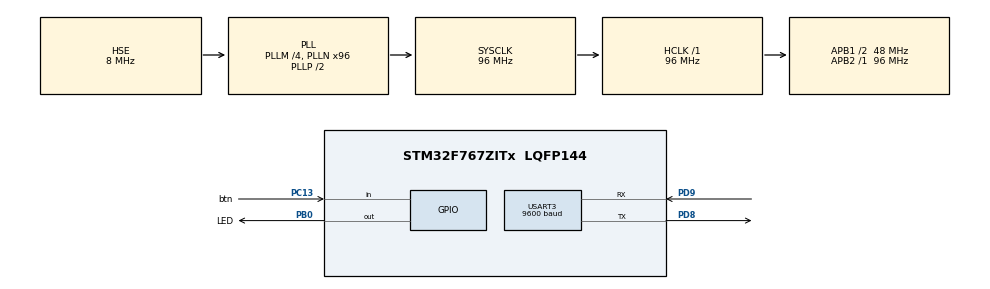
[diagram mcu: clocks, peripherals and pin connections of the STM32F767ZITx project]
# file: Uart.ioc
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Mcu.Family=STM32F7
Mcu.Name=STM32F767ZITx
Mcu.Package=LQFP144
NVIC.PriorityGroup=NVIC_PRIORITYGROUP_4
NVIC.USART3_IRQn=true\:0\:0\:false\:false\:true\:true\:true\:true
PB0.GPIO_Label=LED
PB0.Signal=GPIO_Output
PC13.GPIO_Label=btn
PC13.GPIO_PuPd=GPIO_PULLDOWN
PC13.Signal=GPIO_Input
PD8.Mode=Asynchronous
PD8.Signal=USART3_TX
PD9.Mode=Asynchronous
PD9.Signal=USART3_RX
PH0/OSC_IN.Mode=HSE-External-Oscillator
PH0/OSC_IN.Signal=RCC_OSC_IN
PH1/OSC_OUT.Mode=HSE-External-Oscillator
PH1/OSC_OUT.Signal=RCC_OSC_OUT
ProjectManager.HeapSize=0x200
ProjectManager.StackSize=0x400
ProjectManager.TargetToolchain=STM32CubeIDE
RCC.48MHZClocksFreq_Value=24000000
RCC.AHBFreq_Value=96000000
RCC.APB1CLKDivider=RCC_HCLK_DIV2
RCC.APB1Freq_Value=48000000
RCC.APB1TimFreq_Value=96000000
RCC.APB2Freq_Value=96000000
RCC.APB2TimFreq_Value=96000000
RCC.CortexFreq_Value=96000000
RCC.HCLKFreq_Value=96000000
RCC.HSE_VALUE=8000000
RCC.HSI_VALUE=16000000
RCC.LSE_VALUE=32768
RCC.PLLM=4
RCC.PLLMUL=RCC_PLL_MUL9
RCC.PLLN=96
RCC.PLLQ=4
RCC.PLLSourceVirtual=RCC_PLLSOURCE_HSE
RCC.PRESCALERUSB=RCC_USBCLKSOURCE_PLL_DIV1_5
RCC.SYSCLKFreq_VALUE=96000000
RCC.SYSCLKSource=RCC_SYSCLKSOURCE_PLLCLK
RCC.SYSCLKSourceVirtual=RCC_SYSCLKSOURCE_PLLCLK
RCC.USBFreq_Value=48000000
RCC.VCOOutputFreq_Value=192000000
TIM2.Period=5000-1
TIM2.Prescaler=32000-1
USART3.BaudRate=9600
USART3.VirtualMode-Asynchronous=VM_ASYNC
VP_TIM2_VS_ClockSourceINT.Mode=Internal
board=NUCLEO-F767ZI

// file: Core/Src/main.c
/* USER CODE BEGIN Header */
/**
 ******************************************************************************
 * @file           : main.c
 * @brief          : Main program body
 ******************************************************************************
 * @attention
 *
 * Copyright (c) 2022 STMicroelectronics.
 * All rights reserved.
 *
 * This software is licensed under terms that can be found in the LICENSE file
 * in the root directory of this software component.
 * If no LICENSE file comes with this software, it is provided AS-IS.
 *
 *
 ******************************************************************************
 ******************************************************************************
 *Autores: Jhan Carlos Reyes
 *Autores: Jose Luis De La Hoz
 *Autores: Esneider Silva
 *
 * El siguiente código presenta un desarrollo en la tarjeta de desarrollo
 * Nucleo - F767zi con un ARM-Cortex M7
 *
 * Consiste en una interfaz de terminar serial por la cual el usuario puede
 * interactuar de manera amigable para la generación de número pseudoaleatorios
 * mediante el uso de desplazamientos y compuertas XOR con determinadas
 * posiciones o taps
 *
 * Dentro de las características del programa está la interfaz antes mencionada
 * que transmite a 9600 bps 8N1. Además de identificar si se optienen periodo
 * máximo durante la generación. Si utiliza una única salida que corresponde al
 * led verde en la tarjeta
 ******************************************************************************
 ******************************************************************************
 */
/* USER CODE END Header */
#include "main.h"

/* USER CODE BEGIN Includes */

//Adición de librerías para
// transmisión UART stdio y string
#include <stdio.h>
#include <stdlib.h>
#include <string.h>
// cálculos matemáticos (potencia)
#include <math.h>
// incluir las funciones de printf y scanf
#include "retarget.h"
#include "funciones.h"

/* USER CODE END Includes */

TIM_HandleTypeDef htim2;

UART_HandleTypeDef huart3;

void SystemClock_Config(void);
static void MX_GPIO_Init(void);
static void MX_USART3_UART_Init(void);
static void MX_TIM2_Init(void);

int main(void)
{

  /* MCU Configuration--------------------------------------------------------*/

  /* Reset of all peripherals, Initializes the Flash interface and the Systick. */
  HAL_Init();

  /* Configure the system clock */
  SystemClock_Config();

  /* Initialize all configured peripherals */
  MX_GPIO_Init();
  MX_USART3_UART_Init();
  MX_TIM2_Init();
  /* USER CODE BEGIN 2 */
	HAL_GPIO_WritePin(LED_GPIO_Port, LED_Pin, GPIO_PIN_RESET); //Apagar el LED

	RetargetInit(&huart3); // declarar Uart3 (conectado con el stlink)

  /* USER CODE END 2 */

  /* Infinite loop */
  /* USER CODE BEGIN WHILE */

	while (1) {
		char buf_lfsr[10];
			uint8_t receive[32] = { 0 }; // Arreglo para recibir
			uint8_t seed[32] = { 0 };	//Arreglo semilla
			uint8_t seed_init[32] = { 0 }; //Arreglo semilla inicial
			uint8_t pol[32] = { 0 }; // Almacenar polinomio
			uint8_t aux[32] = { 0 }; // Auxiliar para invertir
			uint8_t xor[32] = { 0 }; // Almacena las xor
			uint8_t buffer_lfsr[16]={0};	//Transmitir
			uint8_t band = 1;		//bandera de ciclo max

			//Uso del timer 2 para LED_Blinking
			HAL_TIM_Base_Start(&htim2);
			__HAL_TIM_CLEAR_FLAG(&htim2, TIM_FLAG_UPDATE);
			int16_t timerLimit = 250;

			//Mensaje de saludo
			Saludo();

			//Etiqueta para reiniciar
			init:
			printf("\n\rNumero de bits termino de realimentacion\n\r");
			scanf("%s", buf_lfsr);
			int numbits = atoi(buf_lfsr);
			printf("\n\rNumero de bits - Decimals: %d\n\r", numbits);

			printf("\n\rIngrese el polinomio de %d bits en binario\n\r", numbits);
			if (!HAL_UART_Receive(&huart3, (uint8_t*) receive, numbits,
					HAL_MAX_DELAY)) {

				for (int i = 0; (i < numbits); i++) {
					pol[i] = (receive[i] - 48);
				}
			}

			///////////

		printf("\n\rIngrese el numero de la semilla de %d bits en binario\n\r",
				numbits);
		if (!HAL_UART_Receive(&huart3, (uint8_t*) receive, numbits, HAL_MAX_DELAY)) {

			//Recibe una semilla del tamaño de bits anteriormente especificado en binario
			for (int i = 0; (i < numbits); i++) {
				seed[i] = (receive[i] - 48);
				seed_init[i] = seed[i];
			}
			band = 1;
			//Convertir de arreglo a byte
			uint64_t usr = 0;
			for (int i = 0; (i < numbits); i++) {
				usr = usr + pow(2, ((numbits - 1) - i)) * seed_init[i];
			}

			uint64_t taps = 0;
			for (int i = 0; (i < numbits); i++) {
				taps = taps + pow(2, (numbits-1)-i) * pol[(numbits-1)-i];
			}

			printf("\n\r\n\r***************************************************************");
			printf("\n\r\t*\t RESUMEN INICIAL DE LA SECUENCIA \t*\n\r");
			printf("***************************************************************");
			printf("\n\rNumero de bits termino de realimentacion: %d \n\r",numbits);
			printf("Funcion de realimentacion: BIN ");

			printf("\n\rNumero de bits termino de realimentacion: %d \n\r",numbits);
			printf("Funcion de realimentacion; ");
			itoa(taps, (char*) buffer_lfsr, 2);
			printf("%s", buffer_lfsr);
			printf(" - ");
			itoa(taps, (char*) buffer_lfsr, 16);
			printf("%s", buffer_lfsr);

			printf("\n\rValor inicial - Semilla : ");
			itoa(usr, (char*) buffer_lfsr, 2);
			printf("%s", buffer_lfsr);
			printf(" - ");
			itoa(usr, (char*) buffer_lfsr, 16);
			printf("%s", buffer_lfsr);

			uint64_t a = pow(2,numbits)-1;
			printf("\n\rTotal de numeros esperados en la secuencia: %llu ", a);
			printf("\r\n");

		}

		printf("\n\r");
		//////////////////////////////////////////////////////
		//Invertir el polinomio de acuerdo con los parámetros establecidos
			for (int w = 0; w < numbits; w++) {
				aux[w] = pol[numbits - 1 - w];
			}

			for (int w = 0; w < numbits; w++) {
				pol[w] = aux[w];
			}

		uint64_t k = 0;
		while (k < pow(2, numbits)) {

			//Revisa si la bandera de interrupción del TIM esta en 1
			if (__HAL_TIM_GET_FLAG(&htim2, TIM_FLAG_UPDATE) != RESET) {
				__HAL_TIM_CLEAR_FLAG(&htim2, TIM_FLAG_UPDATE); //Borra la bandera de interrupcion del timer.
				HAL_GPIO_TogglePin(LED_GPIO_Port, LED_Pin);
				timerLimit = 250;
			} else if (__HAL_TIM_GET_COUNTER(&htim2) >= timerLimit) {
				timerLimit += 250;
			}

			for (int i = 0; (i < numbits); i++) {
				if (pol[i] == 1) {
					xor[i] = seed[i];
				} else {
					xor[i] = 0;
				}
			}
			////////////////////////////////////////////////////////

			/////////////////////////////////////////////////////////////////////////////////
			//Determinar cuantos 1's tiene
			uint64_t res = 0;
			for (int i = 0; (i < numbits); i++) {
				res = res + xor[i];
			}
			///////////////////////////////////////////////////////////////////////////////////

			// Función utilizada en DEBUGG
			// HAL_UART_Transmit(&huart3, &res, sizeof(res), HAL_MAX_DELAY);//envia el valor de la suma para determinar valor XOR

			////////DETERMINAMOS SI ES PAR O IMPAR////////////////////////////////

			if (res % 2 == 0) {
				res = 0;
			} else {
				res = 1;
			}
			///////////////////////////////////////////////
			// HAL_UART_Transmit(&huart3, &res, sizeof(res), HAL_MAX_DELAY);

			///mover y poner el valor xor en la cabeza
			for (int i = numbits - 1; i > 0; i--) {
				seed[i] = seed[i - 1];
			}

			seed[0] = res;

			uint64_t usr = 0;
			for (int i = 0; (i < numbits); i++) {
				usr = usr + pow(2, ((numbits - 1) - i)) * seed[i];
			}
			// Línea equivalente al anterior ciclo pero con tamaño de 4 bits
			//int usr = 16 * seed[0] + 8 * seed[1] + 4 * seed[2] + 2 * seed[3] + seed[4];

			itoa(usr, (char*) buffer_lfsr, 16);
			printf("\n\r%s", buffer_lfsr);

			if(HAL_GPIO_ReadPin (GPIOC, btn_Pin)){
				printf("\n\r\n\r***************************************************************");
				printf("\n\r\t*\t DETENER LA SECUENCIA POR EL USUARIO\t*\n\r");
				printf("***************************************************************");
				HAL_GPIO_WritePin(LED_GPIO_Port, LED_Pin, GPIO_PIN_RESET);
				goto last;
			}

			if (band == 1) {
				band = 2;
			} else {
				band = 0;
				for (int i = 0; i < numbits; i++) {
					if (seed[i] != seed_init[i]) {
						band = 2;
					}
				}
			}

			if (band == 0) {
				if (k == pow(2, numbits) - 2) {
					printf("\n\rMAXIMO\n\r");
				} else {
					printf("\n\rNO MAX\n\r");
				}
				break;
			}
			if (band == 2 && k== pow(2, numbits) - 1) {
				printf("\n\rNO MAX\n\r");
			}
			k++;
		}
		last:
		printf("\n\r\n\r***************************************************************");
		printf("\n\r\t*\t RESUMEN FINAL DE LA SECUENCIA \t*\n\r");
		printf("***************************************************************");
		printf("\n\rNumero de bits termino de realimentacion: %d \n\r",numbits);
		printf("Funcion de realimentacion: BIN ");

		uint64_t usr = 0;
		for (int i = 0; (i < numbits); i++) {
			usr = usr + pow(2, ((numbits - 1) - i)) * seed_init[i];
		}

		uint64_t taps = 0;
		for (int i = 0; (i < numbits); i++) {
			taps = taps + pow(2, (numbits-1)-i) * pol[(numbits-1)-i];
		}
		/*
		for (int i = 0; (i < numbits); i++) {
					usr = usr + pow(2, ((numbits - 1) - i)) * seed_init[i];
				}

		for (int w = 0; w < numbits; w++) {
				aux[w] = pol[numbits - 1 - w];
			}

			for (int w = 0; w < numbits; w++) {
				pol[w] = aux[w];
			}
		 */
		itoa(taps, (char*) buffer_lfsr, 2);
		printf("%s", buffer_lfsr);
		printf(" - HEX ");
		itoa(taps, (char*) buffer_lfsr, 16);
		printf("%s", buffer_lfsr);

		printf("\n\rValor inicial - Semilla : ");
		itoa(usr, (char*) buffer_lfsr, 2);
		printf("%s", buffer_lfsr);
		printf(" - ");
		itoa(usr, (char*) buffer_lfsr, 16);
		printf("%s", buffer_lfsr);

		printf("\n\rNumero de valores calculados en la secuencia: %llu ", k+1);
		if (band == 0) {
			if (k == pow(2, numbits) - 2) {
				HAL_GPIO_WritePin(LED_GPIO_Port, LED_Pin, GPIO_PIN_SET);
				printf("\n\rMAXIMO\n\r");
			} else {
				HAL_GPIO_WritePin(LED_GPIO_Port, LED_Pin, GPIO_PIN_RESET);
				printf("\n\rNO MAX\n\r");
			}
		}
		if (band == 2 && k== pow(2, numbits) - 1) {
			HAL_GPIO_WritePin(LED_GPIO_Port, LED_Pin, GPIO_PIN_RESET);
			printf("\n\rNO MAX\n\r");
		}
		printf("\n\r***************************************************************\n\r");
		goto init;
		//HAL_UART_Transmit(&huart3, seed, 16, HAL_MAX_DELAY);
		//HAL_UART_Transmit(&huart3, &seed[0], 1, HAL_MAX_DELAY);
		//HAL_UART_Transmit(&huart3, &seed[1], 1, HAL_MAX_DELAY);
		//HAL_UART_Transmit(&huart3, &seed[2], 1, HAL_MAX_DELAY);
		//HAL_UART_Transmit(&huart3, &seed[3], 1, HAL_MAX_DELAY);
	}

    /* USER CODE END WHILE */

}

void SystemClock_Config(void)
{
  RCC_OscInitTypeDef RCC_OscInitStruct = {0};
  RCC_ClkInitTypeDef RCC_ClkInitStruct = {0};

  /** Configure the main internal regulator output voltage
  */
  __HAL_RCC_PWR_CLK_ENABLE();
  __HAL_PWR_VOLTAGESCALING_CONFIG(PWR_REGULATOR_VOLTAGE_SCALE3);

  /** Initializes the RCC Oscillators according to the specified parameters
  * in the RCC_OscInitTypeDef structure.
  */
  RCC_OscInitStruct.OscillatorType = RCC_OSCILLATORTYPE_HSE;
  RCC_OscInitStruct.HSEState = RCC_HSE_ON;
  RCC_OscInitStruct.PLL.PLLState = RCC_PLL_ON;
  RCC_OscInitStruct.PLL.PLLSource = RCC_PLLSOURCE_HSE;
  RCC_OscInitStruct.PLL.PLLM = 4;
  RCC_OscInitStruct.PLL.PLLN = 96;
  RCC_OscInitStruct.PLL.PLLP = RCC_PLLP_DIV2;
  RCC_OscInitStruct.PLL.PLLQ = 4;
  RCC_OscInitStruct.PLL.PLLR = 2;
  if (HAL_RCC_OscConfig(&RCC_OscInitStruct) != HAL_OK)
  {
    Error_Handler();
  }

  /** Activate the Over-Drive mode
  */
  if (HAL_PWREx_EnableOverDrive() != HAL_OK)
  {
    Error_Handler();
  }

  /** Initializes the CPU, AHB and APB buses clocks
  */
  RCC_ClkInitStruct.ClockType = RCC_CLOCKTYPE_HCLK|RCC_CLOCKTYPE_SYSCLK
                              |RCC_CLOCKTYPE_PCLK1|RCC_CLOCKTYPE_PCLK2;
  RCC_ClkInitStruct.SYSCLKSource = RCC_SYSCLKSOURCE_PLLCLK;
  RCC_ClkInitStruct.AHBCLKDivider = RCC_SYSCLK_DIV1;
  RCC_ClkInitStruct.APB1CLKDivider = RCC_HCLK_DIV2;
  RCC_ClkInitStruct.APB2CLKDivider = RCC_HCLK_DIV1;

  if (HAL_RCC_ClockConfig(&RCC_ClkInitStruct, FLASH_LATENCY_3) != HAL_OK)
  {
    Error_Handler();
  }
}

static void MX_TIM2_Init(void)
{

  TIM_ClockConfigTypeDef sClockSourceConfig = {0};
  TIM_MasterConfigTypeDef sMasterConfig = {0};

  htim2.Instance = TIM2;
  htim2.Init.Prescaler = 32000-1;
  htim2.Init.CounterMode = TIM_COUNTERMODE_UP;
  htim2.Init.Period = 5000-1;
  htim2.Init.ClockDivision = TIM_CLOCKDIVISION_DIV1;
  htim2.Init.AutoReloadPreload = TIM_AUTORELOAD_PRELOAD_DISABLE;
  if (HAL_TIM_Base_Init(&htim2) != HAL_OK)
  {
    Error_Handler();
  }
  sClockSourceConfig.ClockSource = TIM_CLOCKSOURCE_INTERNAL;
  if (HAL_TIM_ConfigClockSource(&htim2, &sClockSourceConfig) != HAL_OK)
  {
    Error_Handler();
  }
  sMasterConfig.MasterOutputTrigger = TIM_TRGO_RESET;
  sMasterConfig.MasterSlaveMode = TIM_MASTERSLAVEMODE_DISABLE;
  if (HAL_TIMEx_MasterConfigSynchronization(&htim2, &sMasterConfig) != HAL_OK)
  {
    Error_Handler();
  }

}

static void MX_USART3_UART_Init(void)
{

  huart3.Instance = USART3;
  huart3.Init.BaudRate = 9600;
  huart3.Init.WordLength = UART_WORDLENGTH_8B;
  huart3.Init.StopBits = UART_STOPBITS_1;
  huart3.Init.Parity = UART_PARITY_NONE;
  huart3.Init.Mode = UART_MODE_TX_RX;
  huart3.Init.HwFlowCtl = UART_HWCONTROL_NONE;
  huart3.Init.OverSampling = UART_OVERSAMPLING_16;
  huart3.Init.OneBitSampling = UART_ONE_BIT_SAMPLE_DISABLE;
  huart3.AdvancedInit.AdvFeatureInit = UART_ADVFEATURE_NO_INIT;
  if (HAL_UART_Init(&huart3) != HAL_OK)
  {
    Error_Handler();
  }

}

static void MX_GPIO_Init(void)
{
  GPIO_InitTypeDef GPIO_InitStruct = {0};

  /* GPIO Ports Clock Enable */
  __HAL_RCC_GPIOC_CLK_ENABLE();
  __HAL_RCC_GPIOH_CLK_ENABLE();
  __HAL_RCC_GPIOB_CLK_ENABLE();
  __HAL_RCC_GPIOD_CLK_ENABLE();

  /*Configure GPIO pin Output Level */
  HAL_GPIO_WritePin(LED_GPIO_Port, LED_Pin, GPIO_PIN_RESET);

  /*Configure GPIO pin : btn_Pin */
  GPIO_InitStruct.Pin = btn_Pin;
  GPIO_InitStruct.Mode = GPIO_MODE_INPUT;
  GPIO_InitStruct.Pull = GPIO_PULLDOWN;
  HAL_GPIO_Init(btn_GPIO_Port, &GPIO_InitStruct);

  /*Configure GPIO pin : LED_Pin */
  GPIO_InitStruct.Pin = LED_Pin;
  GPIO_InitStruct.Mode = GPIO_MODE_OUTPUT_PP;
  GPIO_InitStruct.Pull = GPIO_NOPULL;
  GPIO_InitStruct.Speed = GPIO_SPEED_FREQ_LOW;
  HAL_GPIO_Init(LED_GPIO_Port, &GPIO_InitStruct);

}

void Error_Handler(void)
{
	__disable_irq();
	while (1) {
	}
}
